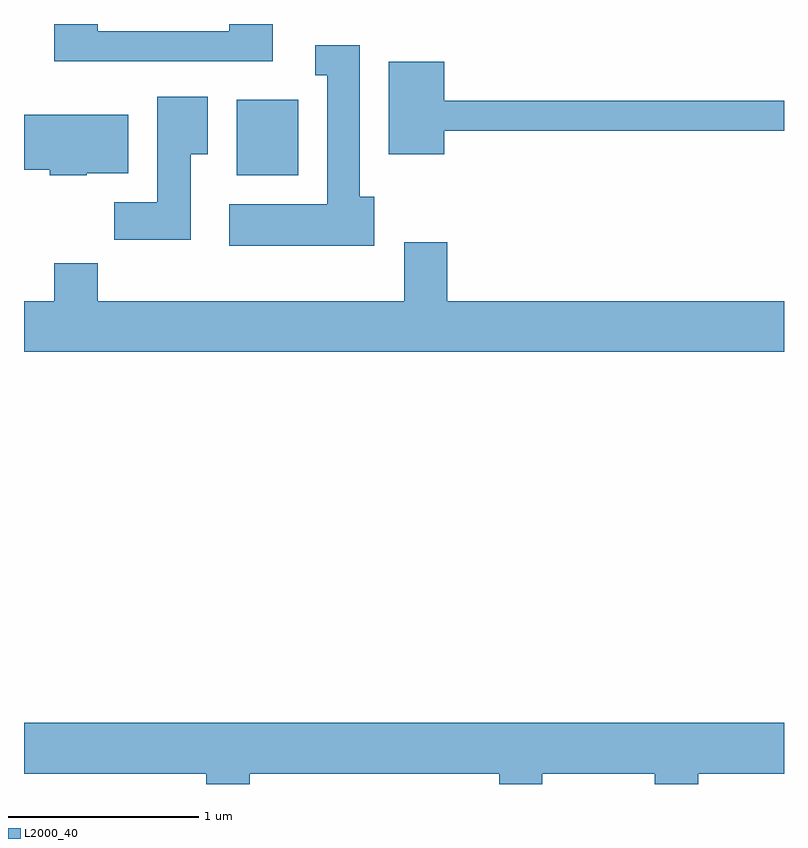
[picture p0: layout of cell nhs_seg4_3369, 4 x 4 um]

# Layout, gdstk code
import gdstk
lib = gdstk.Library(unit=1e-6, precision=1e-09)
def R(c, l, rs):  # rectangles x0, y0, x1, y1
    for r in rs: c.add(gdstk.rectangle(r[:2], r[2:], *l))
def P(c, l, *ps):  # polygons
    for p in ps: c.add(gdstk.Polygon(p, *l))
L2000_40 = (2000, 40)

nhs_seg4_3369 = lib.new_cell('nhs_seg4_3369')
R(nhs_seg4_3369, L2000_40, [(284.731,1331.186,285.054,1331.584)])
P(nhs_seg4_3369, L2000_40, [(284.919,1331.982),(284.691,1331.982),(284.691,1331.944),(283.999,1331.944),(283.999,1331.982),(283.771,1331.982),(283.771,1331.786),(284.919,1331.786)],
  [(285.454,1331.074),(285.379,1331.074),(285.379,1331.869),(285.143,1331.869),(285.143,1331.711),(285.206,1331.711),(285.206,1331.034),(284.691,1331.034),(284.691,1330.816),(285.454,1330.816)],
  [(285.824,1331.421),(287.611,1331.421),(287.611,1331.579),(285.824,1331.579),(285.824,1331.784),(285.531,1331.784),(285.531,1331.296),(285.824,1331.296)],
  [(284.489,1331.296),(284.579,1331.296),(284.579,1331.599),(284.311,1331.599),(284.311,1331.044),(284.086,1331.044),(284.086,1330.846),(284.489,1330.846)],
  [(283.94,1331.196),(284.159,1331.196),(284.159,1331.504),(283.611,1331.504),(283.611,1331.216),(283.746,1331.216),(283.746,1331.186),(283.94,1331.186)],
  [(287.611,1330.524),(285.839,1330.524),(285.839,1330.834),(285.611,1330.834),(285.611,1330.524),(283.999,1330.524),(283.999,1330.724),(283.771,1330.724),(283.771,1330.524),(283.611,1330.524),(283.611,1330.256),(287.611,1330.256)],
  [(284.799,1328.036),(286.111,1328.036),(286.111,1327.982),(286.339,1327.982),(286.339,1328.036),(286.931,1328.036),(286.931,1327.982),(287.159,1327.982),(287.159,1328.036),(287.611,1328.036),(287.611,1328.304),(283.611,1328.304),(283.611,1328.036),(284.571,1328.036),(284.571,1327.982),(284.799,1327.982)])

lib.write_gds('nhs_seg4_3369.gds')
